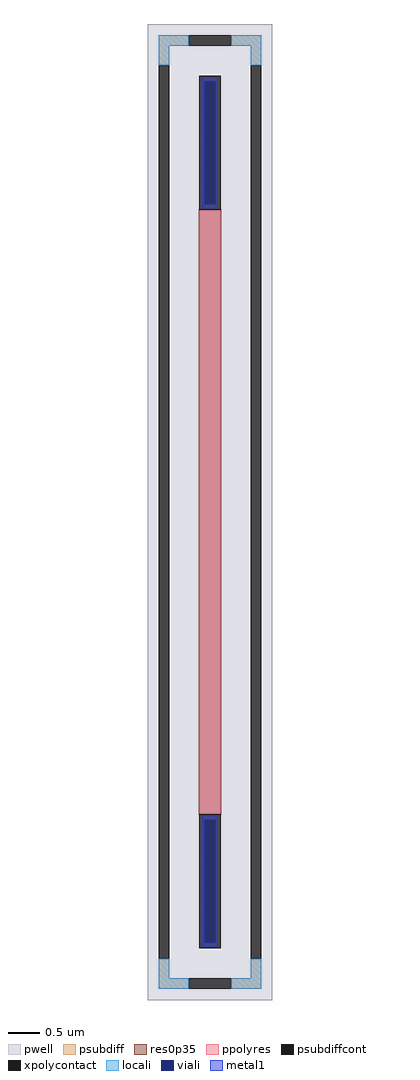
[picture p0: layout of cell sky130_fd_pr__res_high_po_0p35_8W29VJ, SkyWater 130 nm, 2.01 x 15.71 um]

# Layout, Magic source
magic
tech sky130A
magscale 1 2
<< pwell >>
rect -201 -1571 201 1571
<< psubdiff >>
rect -165 1501 -69 1535
rect 69 1501 165 1535
rect -165 1439 -131 1501
rect 131 1439 165 1501
rect -165 -1501 -131 -1439
rect 131 -1501 165 -1439
rect -165 -1535 -69 -1501
rect 69 -1535 165 -1501
<< psubdiffcont >>
rect -69 1501 69 1535
rect -165 -1439 -131 1439
rect 131 -1439 165 1439
rect -69 -1535 69 -1501
<< xpolycontact >>
rect -35 973 35 1405
rect -35 -1405 35 -973
<< ppolyres >>
rect -35 -973 35 973
<< locali >>
rect -165 1501 -69 1535
rect 69 1501 165 1535
rect -165 1439 -131 1501
rect 131 1439 165 1501
rect -165 -1501 -131 -1439
rect 131 -1501 165 -1439
rect -165 -1535 -69 -1501
rect 69 -1535 165 -1501
<< viali >>
rect -19 990 19 1387
rect -19 -1387 19 -990
<< metal1 >>
rect -25 1387 25 1399
rect -25 990 -19 1387
rect 19 990 25 1387
rect -25 978 25 990
rect -25 -990 25 -978
rect -25 -1387 -19 -990
rect 19 -1387 25 -990
rect -25 -1399 25 -1387
<< res0p35 >>
rect -37 -975 37 975
<< properties >>
string FIXED_BBOX -148 -1518 148 1518
string gencell sky130_fd_pr__res_high_po_0p35
string library sky130
string parameters w 0.350 l 9.73 m 1 nx 1 wmin 0.350 lmin 0.50 rho 319.8 val 10.003k dummy 0 dw 0.0 term 194.82 sterm 0.0 caplen 0 guard 1 glc 1 grc 1 gtc 1 gbc 1 compatible {sky130_fd_pr__res_high_po_0p35  sky130_fd_pr__res_high_po_0p69 sky130_fd_pr__res_high_po_1p41  sky130_fd_pr__res_high_po_2p85 sky130_fd_pr__res_high_po_5p73} full_metal 1 wmax 0.350 vias 1 n_guard 0 hv_guard 0 viagb 0 viagt 0 viagl 0 viagr 0
<< end >>
